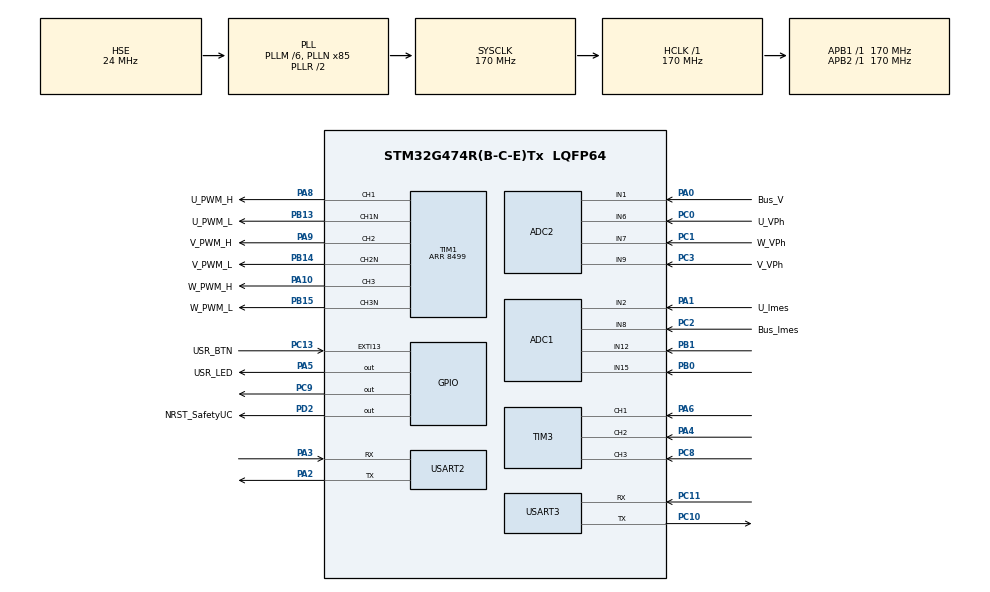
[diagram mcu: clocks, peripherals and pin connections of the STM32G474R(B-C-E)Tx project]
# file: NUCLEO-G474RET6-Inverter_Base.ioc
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ADC1.Channel-0\#ChannelRegularConversion=ADC_CHANNEL_2
ADC1.ContinuousConvMode=DISABLE
ADC1.DMAContinuousRequests=ENABLE
ADC1.ExternalTrigConv=ADC_EXTERNALTRIG_T1_TRGO
ADC1.NbrOfConversionFlag=1
ADC1.OffsetNumber-0\#ChannelRegularConversion=ADC_OFFSET_NONE
ADC1.Overrun=ADC_OVR_DATA_OVERWRITTEN
ADC1.Rank-0\#ChannelRegularConversion=1
ADC1.SamplingTime-0\#ChannelRegularConversion=ADC_SAMPLETIME_640CYCLES_5
ADC1.master=1
ADC2.Channel-0\#ChannelRegularConversion=ADC_CHANNEL_6
ADC2.NbrOfConversionFlag=1
ADC2.OffsetNumber-0\#ChannelRegularConversion=ADC_OFFSET_NONE
ADC2.Rank-0\#ChannelRegularConversion=1
ADC2.SamplingTime-0\#ChannelRegularConversion=ADC_SAMPLETIME_2CYCLES_5
Dma.ADC1.1.Direction=DMA_PERIPH_TO_MEMORY
Dma.ADC1.1.EventEnable=DISABLE
Dma.ADC1.1.Instance=DMA1_Channel1
Dma.ADC1.1.MemDataAlignment=DMA_MDATAALIGN_HALFWORD
Dma.ADC1.1.MemInc=DMA_MINC_ENABLE
Dma.ADC1.1.Mode=DMA_CIRCULAR
Dma.ADC1.1.PeriphDataAlignment=DMA_PDATAALIGN_HALFWORD
Dma.ADC1.1.PeriphInc=DMA_PINC_DISABLE
Dma.ADC1.1.Polarity=HAL_DMAMUX_REQ_GEN_RISING
Dma.ADC1.1.Priority=DMA_PRIORITY_MEDIUM
Dma.ADC1.1.RequestNumber=1
Dma.ADC1.1.SignalID=NONE
Dma.ADC1.1.SyncEnable=DISABLE
Dma.ADC1.1.SyncPolarity=HAL_DMAMUX_SYNC_NO_EVENT
Dma.ADC1.1.SyncRequestNumber=1
Dma.ADC1.1.SyncSignalID=NONE
Dma.Request0=TIM1_CH1
Dma.Request1=ADC1
Dma.TIM1_CH1.0.Direction=DMA_MEMORY_TO_PERIPH
Dma.TIM1_CH1.0.EventEnable=DISABLE
Dma.TIM1_CH1.0.Instance=DMA1_Channel2
Dma.TIM1_CH1.0.MemDataAlignment=DMA_MDATAALIGN_HALFWORD
Dma.TIM1_CH1.0.MemInc=DMA_MINC_ENABLE
Dma.TIM1_CH1.0.Mode=DMA_NORMAL
Dma.TIM1_CH1.0.PeriphDataAlignment=DMA_PDATAALIGN_HALFWORD
Dma.TIM1_CH1.0.PeriphInc=DMA_PINC_DISABLE
Dma.TIM1_CH1.0.Polarity=HAL_DMAMUX_REQ_GEN_RISING
Dma.TIM1_CH1.0.Priority=DMA_PRIORITY_LOW
Dma.TIM1_CH1.0.RequestNumber=1
Dma.TIM1_CH1.0.SignalID=NONE
Dma.TIM1_CH1.0.SyncEnable=DISABLE
Dma.TIM1_CH1.0.SyncPolarity=HAL_DMAMUX_SYNC_NO_EVENT
Dma.TIM1_CH1.0.SyncRequestNumber=1
Dma.TIM1_CH1.0.SyncSignalID=NONE
Mcu.Family=STM32G4
Mcu.Name=STM32G474R(B-C-E)Tx
Mcu.Package=LQFP64
NVIC.DMA1_Channel1_IRQn=true\:0\:0\:false\:false\:true\:false\:true\:true
NVIC.DMA1_Channel2_IRQn=true\:0\:0\:false\:false\:true\:false\:true\:true
NVIC.EXTI15_10_IRQn=true\:0\:0\:true\:false\:true\:true\:true\:true
NVIC.PriorityGroup=NVIC_PRIORITYGROUP_4
NVIC.TIM6_DAC_IRQn=true\:15\:0\:false\:false\:true\:false\:true\:true
NVIC.TimeBase=TIM6_DAC_IRQn
NVIC.TimeBaseIP=TIM6
NVIC.USART2_IRQn=true\:0\:0\:true\:false\:true\:true\:true\:true
PA0.GPIO_Label=Bus_V
PA0.Mode=IN1-Single-Ended
PA0.Signal=ADC2_IN1
PA1.GPIO_Label=U_Imes
PA1.Mode=IN2-Single-Ended
PA1.Signal=ADC1_IN2
PA10.GPIO_Label=W_PWM_H
PA10.Signal=S_TIM1_CH3
PA13.GPIO_Label=T_SWDIO
PA13.Mode=Trace_Asynchronous_SW
PA13.Signal=SYS_JTMS-SWDIO
PA14.GPIO_Label=T_SWCLK
PA14.Mode=Trace_Asynchronous_SW
PA14.Signal=SYS_JTCK-SWCLK
PA2.Mode=Asynchronous
PA2.Signal=USART2_TX
PA3.Mode=Asynchronous
PA3.Signal=USART2_RX
PA4.Signal=S_TIM3_CH2
PA5.GPIO_Label=USR_LED
PA5.Signal=GPIO_Output
PA6.Signal=S_TIM3_CH1
PA8.GPIO_Label=U_PWM_H
PA8.Signal=S_TIM1_CH1
PA9.GPIO_Label=V_PWM_H
PA9.Signal=S_TIM1_CH2
PB0.Mode=IN15-Single-Ended
PB0.Signal=ADC1_IN15
PB1.Mode=IN12-Single-Ended
PB1.Signal=ADC1_IN12
PB13.GPIO_Label=U_PWM_L
PB13.Mode=PWM Generation1 CH1 CH1N
PB13.Signal=TIM1_CH1N
PB14.GPIO_Label=V_PWM_L
PB14.Mode=PWM Generation2 CH2 CH2N
PB14.Signal=TIM1_CH2N
PB15.GPIO_Label=W_PWM_L
PB15.Mode=PWM Generation3 CH3 CH3N
PB15.Signal=TIM1_CH3N
PB3.GPIO_Label=T_SWO
PB3.Mode=Trace_Asynchronous_SW
PB3.Signal=SYS_JTDO-SWO
PC0.GPIO_Label=U_VPh
PC0.Mode=IN6-Single-Ended
PC0.Signal=ADC2_IN6
PC1.GPIO_Label=W_VPh
PC1.Mode=IN7-Single-Ended
PC1.Signal=ADC2_IN7
PC10.Mode=Asynchronous
PC10.Signal=USART3_TX
PC11.Mode=Asynchronous
PC11.Signal=USART3_RX
PC13.GPIO_Label=USR_BTN
PC13.Signal=GPXTI13
PC14-OSC32_IN.Mode=LSE-External-Oscillator
PC14-OSC32_IN.Signal=RCC_OSC32_IN
PC15-OSC32_OUT.Mode=LSE-External-Oscillator
PC15-OSC32_OUT.Signal=RCC_OSC32_OUT
PC2.GPIO_Label=Bus_Imes
PC2.Mode=IN8-Single-Ended
PC2.Signal=ADC1_IN8
PC3.GPIO_Label=V_VPh
PC3.Mode=IN9-Single-Ended
PC3.Signal=ADC2_IN9
PC8.Signal=S_TIM3_CH3
PC9.Signal=GPIO_Output
PD2.GPIO_Label=NRST_SafetyUC
PD2.Signal=GPIO_Output
PF0-OSC_IN.Mode=HSE-External-Oscillator
PF0-OSC_IN.Signal=RCC_OSC_IN
PF1-OSC_OUT.Mode=HSE-External-Oscillator
PF1-OSC_OUT.Signal=RCC_OSC_OUT
ProjectManager.HeapSize=0x200
ProjectManager.StackSize=0x400
ProjectManager.TargetToolchain=STM32CubeIDE
RCC.ADC12Freq_Value=170000000
RCC.ADC345Freq_Value=170000000
RCC.AHBFreq_Value=170000000
RCC.APB1Freq_Value=170000000
RCC.APB1TimFreq_Value=170000000
RCC.APB2Freq_Value=170000000
RCC.APB2TimFreq_Value=170000000
RCC.CortexFreq_Value=170000000
RCC.EXTERNAL_CLOCK_VALUE=12288000
RCC.HCLKFreq_Value=170000000
RCC.HSE_VALUE=24000000
RCC.HSI48_VALUE=48000000
RCC.HSI_VALUE=16000000
RCC.PLLM=RCC_PLLM_DIV6
RCC.PLLN=85
RCC.PLLSourceVirtual=RCC_PLLSOURCE_HSE
RCC.RTCClockSelection=RCC_RTCCLKSOURCE_LSE
RCC.SYSCLKFreq_VALUE=170000000
RCC.SYSCLKSource=RCC_SYSCLKSOURCE_PLLCLK
RCC.USBFreq_Value=170000000
RCC.VCOOutputFreq_Value=340000000
SH.S_TIM1_CH1.0=TIM1_CH1,PWM Generation1 CH1 CH1N
SH.S_TIM1_CH2.0=TIM1_CH2,PWM Generation2 CH2 CH2N
SH.S_TIM1_CH3.0=TIM1_CH3,PWM Generation3 CH3 CH3N
SH.S_TIM3_CH1.0=TIM3_CH1,Xored_Inputs_Hall_Sensor_Interface
SH.S_TIM3_CH2.0=TIM3_CH2,Xored_Inputs_Hall_Sensor_Interface
SH.S_TIM3_CH3.0=TIM3_CH3,Xored_Inputs_Hall_Sensor_Interface
TIM1.Channel-PWM\ Generation1\ CH1\ CH1N=TIM_CHANNEL_1
TIM1.Channel-PWM\ Generation2\ CH2\ CH2N=TIM_CHANNEL_2
TIM1.Channel-PWM\ Generation3\ CH3\ CH3N=TIM_CHANNEL_3
TIM1.CounterMode=TIM_COUNTERMODE_CENTERALIGNED1
TIM1.DeadTime=16
TIM1.PeriodNoDither=8499
TIM1.PulseNoDither_1=5100
TIM1.TIM_MasterOutputTrigger=TIM_TRGO_UPDATE
TIM1.TIM_MasterSlaveMode=TIM_MASTERSLAVEMODE_ENABLE
USART2.VirtualMode-Asynchronous=VM_ASYNC
USART3.VirtualMode-Asynchronous=VM_ASYNC
VP_SYS_VS_DBSignals.Mode=DisableDeadBatterySignals
VP_SYS_VS_tim6.Mode=TIM6
VP_TIM1_VS_ClockSourceINT.Mode=Internal
board=NUCLEO-G474RE

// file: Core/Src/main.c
/* USER CODE BEGIN Header */
/**
 ******************************************************************************
 * @file           : main.c
 * @brief          : Main program body
 ******************************************************************************
 * @attention
 *
 * Copyright (c) 2025 STMicroelectronics.
 * All rights reserved.
 *
 * This software is licensed under terms that can be found in the LICENSE file
 * in the root directory of this software component.
 * If no LICENSE file comes with this software, it is provided AS-IS.
 *
 ******************************************************************************
 */
/* USER CODE END Header */
#include "main.h"
#include "adc.h"
#include "dma.h"
#include "tim.h"
#include "usart.h"
#include "gpio.h"

/* USER CODE BEGIN Includes */
#include "app.h"
#include "acquisition/input_analog.h"
#include "motor_control/asserv.h"
#include "motor_control/motor.h"
#include <stdlib.h>
#include <stdio.h>
/* USER CODE END Includes */

void SystemClock_Config(void);

int main(void)
{

	/* MCU Configuration--------------------------------------------------------*/

	/* Reset of all peripherals, Initializes the Flash interface and the Systick. */
	HAL_Init();

	/* Configure the system clock */
	SystemClock_Config();

	/* Initialize all configured peripherals */
	MX_GPIO_Init();
	MX_DMA_Init();
	MX_ADC2_Init();
	MX_ADC1_Init();
	MX_TIM1_Init();
	MX_TIM3_Init();
	MX_USART2_UART_Init();
	MX_USART3_UART_Init();
	/* USER CODE BEGIN 2 */
	init_device();
	HAL_TIM_PWM_Start(&htim1, TIM_CHANNEL_1);
	//	HAL_TIM_PWM_Start(&htim1, TIM_CHANNEL_2);
	//	HAL_TIMEx_PWMN_Start(&htim1, TIM_CHANNEL_1);
	//	HAL_TIMEx_PWMN_Start(&htim1, TIM_CHANNEL_2);
	//	__HAL_TIM_SET_COMPARE(&htim1, TIM_CHANNEL_1, 8500/3);
	//	__HAL_TIM_SET_COMPARE(&htim1, TIM_CHANNEL_2, 8500/3);

	/* USER CODE END 2 */

	/* Infinite loop */
	/* USER CODE BEGIN WHILE */
	while (1)
	{
		loop();
		/* USER CODE END WHILE */

	}
}

void SystemClock_Config(void)
{
	RCC_OscInitTypeDef RCC_OscInitStruct = {0};
	RCC_ClkInitTypeDef RCC_ClkInitStruct = {0};

	/** Configure the main internal regulator output voltage
	 */
	HAL_PWREx_ControlVoltageScaling(PWR_REGULATOR_VOLTAGE_SCALE1_BOOST);

	/** Initializes the RCC Oscillators according to the specified parameters
	 * in the RCC_OscInitTypeDef structure.
	 */
	RCC_OscInitStruct.OscillatorType = RCC_OSCILLATORTYPE_HSE;
	RCC_OscInitStruct.HSEState = RCC_HSE_ON;
	RCC_OscInitStruct.PLL.PLLState = RCC_PLL_ON;
	RCC_OscInitStruct.PLL.PLLSource = RCC_PLLSOURCE_HSE;
	RCC_OscInitStruct.PLL.PLLM = RCC_PLLM_DIV6;
	RCC_OscInitStruct.PLL.PLLN = 85;
	RCC_OscInitStruct.PLL.PLLP = RCC_PLLP_DIV2;
	RCC_OscInitStruct.PLL.PLLQ = RCC_PLLQ_DIV2;
	RCC_OscInitStruct.PLL.PLLR = RCC_PLLR_DIV2;
	if (HAL_RCC_OscConfig(&RCC_OscInitStruct) != HAL_OK)
	{
		Error_Handler();
	}

	/** Initializes the CPU, AHB and APB buses clocks
	 */
	RCC_ClkInitStruct.ClockType = RCC_CLOCKTYPE_HCLK|RCC_CLOCKTYPE_SYSCLK
			|RCC_CLOCKTYPE_PCLK1|RCC_CLOCKTYPE_PCLK2;
	RCC_ClkInitStruct.SYSCLKSource = RCC_SYSCLKSOURCE_PLLCLK;
	RCC_ClkInitStruct.AHBCLKDivider = RCC_SYSCLK_DIV1;
	RCC_ClkInitStruct.APB1CLKDivider = RCC_HCLK_DIV1;
	RCC_ClkInitStruct.APB2CLKDivider = RCC_HCLK_DIV1;

	if (HAL_RCC_ClockConfig(&RCC_ClkInitStruct, FLASH_LATENCY_4) != HAL_OK)
	{
		Error_Handler();
	}
}

/* USER CODE BEGIN 4 */
void HAL_ADC_ConvCpltCallback(ADC_HandleTypeDef* hadc)
{
	if (hadc->Instance == ADC1)
	{
		float I_mes = measure_current();

		float cmd_pwm = compute_pid(
				&asserv_sys.current_loop,
				I_mes,
				asserv_sys.target_current,
				asserv_sys.T_current
		);

		//motor_set_pwm(cmd_pwm);
	}
}
/* USER CODE END 4 */

void HAL_TIM_PeriodElapsedCallback(TIM_HandleTypeDef *htim)
{
	if (htim->Instance == TIM6)
	{
		HAL_IncTick();
		static uint8_t speed_loop_counter = 0;
		speed_loop_counter++;

		if (speed_loop_counter >= 10)
		{
			encoder_compute_speed_100Hz();
			speed_loop_counter = 0;
		}
	}
}

void Error_Handler(void)
{
	__disable_irq();
	while (1)
	{
	}
}
